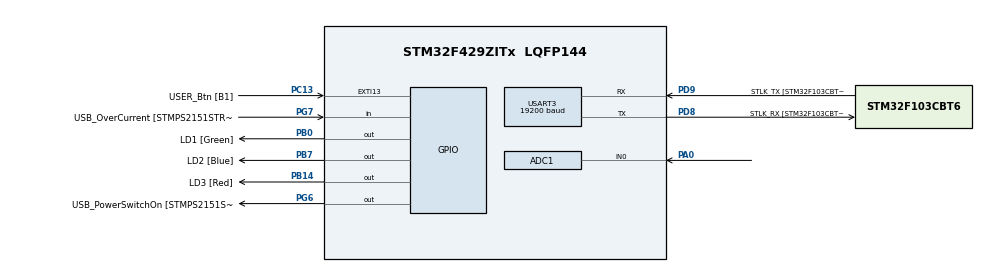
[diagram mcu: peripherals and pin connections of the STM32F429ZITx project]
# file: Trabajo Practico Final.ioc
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ADC1.Channel-0\#ChannelRegularConversion=ADC_CHANNEL_0
ADC1.ContinuousConvMode=DISABLE
ADC1.InjNumberOfConversion=0
ADC1.NbrOfConversionFlag=1
ADC1.Rank-0\#ChannelRegularConversion=1
ADC1.SamplingTime-0\#ChannelRegularConversion=ADC_SAMPLETIME_3CYCLES
ADC1.master=1
Mcu.Family=STM32F4
Mcu.Name=STM32F429ZITx
Mcu.Package=LQFP144
NVIC.PriorityGroup=NVIC_PRIORITYGROUP_4
PA0/WKUP.Signal=ADCx_IN0
PA1.GPIO_Label=RMII_REF_CLK [LAN8742A-CZ-TR_REFCLK0]
PA1.Signal=ETH_REF_CLK
PA10.GPIO_Label=USB_ID
PA10.Signal=USB_OTG_FS_ID
PA11.GPIO_Label=USB_DM
PA11.Signal=USB_OTG_FS_DM
PA12.GPIO_Label=USB_DP
PA12.Signal=USB_OTG_FS_DP
PA13.GPIO_Label=TMS
PA13.Mode=Serial_Wire
PA13.Signal=SYS_JTMS-SWDIO
PA14.GPIO_Label=TCK
PA14.Mode=Serial_Wire
PA14.Signal=SYS_JTCK-SWCLK
PA2.GPIO_Label=RMII_MDIO [LAN8742A-CZ-TR_MDIO]
PA2.Signal=ETH_MDIO
PA7.GPIO_Label=RMII_CRS_DV [LAN8742A-CZ-TR_CRS_DV]
PA7.Signal=ETH_CRS_DV
PA8.GPIO_Label=USB_SOF [TP1]
PA8.Signal=USB_OTG_FS_SOF
PA9.GPIO_Label=USB_VBUS
PA9.Signal=USB_OTG_FS_VBUS
PB0.GPIO_Label=LD1 [Green]
PB0.Signal=GPIO_Output
PB13.GPIO_Label=RMII_TXD1 [LAN8742A-CZ-TR_TXD1]
PB13.Signal=ETH_TXD1
PB14.GPIO_Label=LD3 [Red]
PB14.Signal=GPIO_Output
PB7.GPIO_Label=LD2 [Blue]
PB7.Signal=GPIO_Output
PC1.GPIO_Label=RMII_MDC [LAN8742A-CZ-TR_MDC]
PC1.Signal=ETH_MDC
PC13.GPIO_Label=USER_Btn [B1]
PC13.Signal=GPXTI13
PC14/OSC32_IN.Mode=LSE-External-Oscillator
PC14/OSC32_IN.Signal=RCC_OSC32_IN
PC15/OSC32_OUT.Mode=LSE-External-Oscillator
PC15/OSC32_OUT.Signal=RCC_OSC32_OUT
PC4.GPIO_Label=RMII_RXD0 [LAN8742A-CZ-TR_RXD0]
PC4.Signal=ETH_RXD0
PC5.GPIO_Label=RMII_RXD1 [LAN8742A-CZ-TR_RXD1]
PC5.Signal=ETH_RXD1
PD8.GPIO_Label=STLK_RX [STM32F103CBT6_PA3]
PD8.Mode=Asynchronous
PD8.Signal=USART3_TX
PD9.GPIO_Label=STLK_TX [STM32F103CBT6_PA2]
PD9.Mode=Asynchronous
PD9.Signal=USART3_RX
PG11.GPIO_Label=RMII_TX_EN [LAN8742A-CZ-TR_TXEN]
PG11.Signal=ETH_TX_EN
PG13.GPIO_Label=RMII_TXD0 [LAN8742A-CZ-TR_TXD0]
PG13.Signal=ETH_TXD0
PG6.GPIO_Label=USB_PowerSwitchOn [STMPS2151STR_EN]
PG6.Signal=GPIO_Output
PG7.GPIO_Label=USB_OverCurrent [STMPS2151STR_FAULT]
PG7.Signal=GPIO_Input
PH0/OSC_IN.GPIO_Label=MCO [STM32F103CBT6_PA8]
PH0/OSC_IN.Mode=HSE-External-Clock-Source
PH0/OSC_IN.Signal=RCC_OSC_IN
PH1/OSC_OUT.Mode=HSE-External-Clock-Source
PH1/OSC_OUT.Signal=RCC_OSC_OUT
ProjectManager.HeapSize=0x200
ProjectManager.StackSize=0x400
ProjectManager.TargetToolchain=STM32CubeIDE
RCC.48MHZClocksFreq_Value=48000000
RCC.AHBFreq_Value=168000000
RCC.APB1CLKDivider=RCC_HCLK_DIV4
RCC.APB1Freq_Value=42000000
RCC.APB1TimFreq_Value=84000000
RCC.APB2CLKDivider=RCC_HCLK_DIV2
RCC.APB2Freq_Value=84000000
RCC.APB2TimCLKDivider=2
RCC.APB2TimFreq_Value=168000000
RCC.CortexFreq_Value=168000000
RCC.HCLKFreq_Value=168000000
RCC.HSE_VALUE=8000000
RCC.HSI_VALUE=16000000
RCC.PLLM=4
RCC.PLLMUL=RCC_PLL_MUL9
RCC.PLLN=168
RCC.PLLQ=7
RCC.PLLSourceVirtual=RCC_PLLSOURCE_HSE
RCC.PRESCALERUSB=RCC_USBCLKSOURCE_PLL_DIV1_5
RCC.SYSCLKFreq_VALUE=168000000
RCC.SYSCLKSource=RCC_SYSCLKSOURCE_PLLCLK
RCC.SYSCLKSourceVirtual=RCC_SYSCLKSOURCE_PLLCLK
RCC.USBFreq_Value=48000000
RCC.VCOOutputFreq_Value=336000000
SH.ADCx_IN0.0=ADC1_IN0,IN0
USART3.BaudRate=19200
USART3.VirtualMode=VM_ASYNC
board=NUCLEO-F429ZI

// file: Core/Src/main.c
/* USER CODE BEGIN Header */
/**
  ******************************************************************************
  * @file           : main.c
  * @brief          : Main program body
  ******************************************************************************
  * @attention
  *
  * Copyright (c) 2024 STMicroelectronics.
  * All rights reserved.
  *
  * This software is licensed under terms that can be found in the LICENSE file
  * in the root directory of this software component.
  * If no LICENSE file comes with this software, it is provided AS-IS.
  *
  ******************************************************************************
  */
/* USER CODE END Header */
#include "main.h"

/* USER CODE BEGIN Includes */
#include <stdio.h>
#include <string.h>
/* USER CODE END Includes */

/* USER CODE BEGIN PD */
#define NUM_SAMPLES 10 // Número de muestras para promediar
/* USER CODE END PD */

ADC_HandleTypeDef hadc1;
UART_HandleTypeDef huart3;

int main(void)
{
  /* USER CODE BEGIN 1 */
  uint32_t adc_value; // Variable para almacenar el valor del ADC
  /* USER CODE END 1 */

  /* MCU Configuration--------------------------------------------------------*/

  /* Reset of all peripherals, Initializes the Flash interface and the Systick. */
  HAL_Init();

  /* Configure the system clock */
  SystemClock_Config();

  /* Initialize all configured peripherals */
  MX_GPIO_Init();
  MX_USART3_UART_Init();
  MX_ADC1_Init();
  /* USER CODE BEGIN 2 */

  // Inicializar el ADC y la MEF
  HAL_ADC_Init(&hadc1);
  MEF_sist_init();

  // Configura los pines y puertos necesarios para el LCD
  Lcd_PortType data_ports[] = {D4_GPIO_Port, D5_GPIO_Port,
		  	  	  	  	  	  D6_GPIO_Port, D7_GPIO_Port};
  Lcd_PinType data_pins[] = {D4_Pin, D5_Pin, D6_Pin, D7_Pin};
  Lcd_PortType rs_port = RS_GPIO_Port;
  Lcd_PinType rs_pin = RS_Pin;
  Lcd_PortType en_port = EN_GPIO_Port;
  Lcd_PinType en_pin = EN_Pin;

  // Crea una instancia de Lcd_HandleTypeDef
  Lcd_HandleTypeDef lcd = Lcd_create(data_ports, data_pins, rs_port, rs_pin, en_port, en_pin, LCD_4_BIT_MODE);

  // Inicializa el LCD
  Lcd_init(&lcd);

  /* USER CODE END 2 */

  /* Infinite loop */
  /* USER CODE BEGIN WHILE */
  while (1)
  {
	  // Leer el ADC y actualizar la MEF
	  adc_value = (read_adc_value(&hadc1, NUM_SAMPLES)*100/4095);
	  MEF_sist_update(adc_value);
	  char estado = Get_state();

	  // Limpiar pantalla LCD
	  Lcd_clear(&lcd);

	  // Mostrar el estado de la MEF en el LCD
	  Lcd_cursor(&lcd, 0, 0);
	  char lcd_buffer[16];
	  snprintf(lcd_buffer, sizeof(lcd_buffer), "Estado: %c", estado);
	  Lcd_string(&lcd, lcd_buffer);

	  // Mostrar el valor del ADC en el LCD
	  Lcd_cursor(&lcd, 1, 0);
	  snprintf(lcd_buffer, sizeof(lcd_buffer), "ADC: %lu", adc_value);
	  Lcd_string(&lcd, lcd_buffer);

      // Transmitir el valor del ADC y el estado a través del UART
      char buffer[50];
      snprintf(buffer, sizeof(buffer), "Estado: %c - Valor Medido: %lu\r", estado, adc_value);
      HAL_UART_Transmit(&huart3, (uint8_t *)buffer, strlen((char *)buffer), HAL_MAX_DELAY);

      // Esperar 500 ms antes de la próxima transmisión
      HAL_Delay(500);
    /* USER CODE END WHILE */

  }
}

void Error_Handler(void)
{
  __disable_irq();
  while (1)
  {
  }
}
